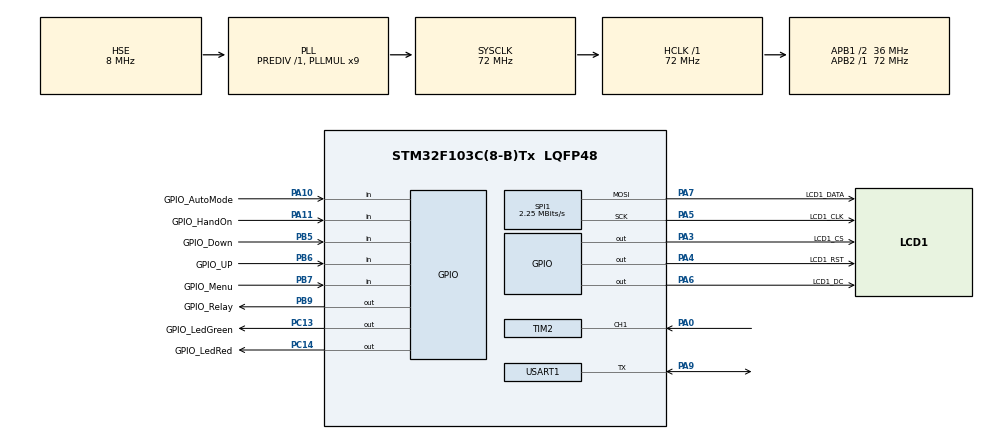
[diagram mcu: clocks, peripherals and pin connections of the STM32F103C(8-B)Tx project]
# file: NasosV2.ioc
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Dma.Request0=SPI1_TX
Dma.SPI1_TX.0.Direction=DMA_MEMORY_TO_PERIPH
Dma.SPI1_TX.0.Instance=DMA1_Channel3
Dma.SPI1_TX.0.MemDataAlignment=DMA_MDATAALIGN_BYTE
Dma.SPI1_TX.0.MemInc=DMA_MINC_ENABLE
Dma.SPI1_TX.0.Mode=DMA_NORMAL
Dma.SPI1_TX.0.PeriphDataAlignment=DMA_PDATAALIGN_BYTE
Dma.SPI1_TX.0.PeriphInc=DMA_PINC_DISABLE
Dma.SPI1_TX.0.Priority=DMA_PRIORITY_LOW
FREERTOS.Tasks01=Task01Main,0,128,MainTask,Default,NULL,Dynamic,NULL,NULL;Task02LCD,-3,256,LcdOutTask,Default,NULL,Dynamic,NULL,NULL;Task03LedDiod,-3,128,LedDiodTask,Default,NULL,Dynamic,NULL,NULL;Task04Button,-3,128,ButtonTask,Default,NULL,Dynamic,NULL,NULL;Task05Option,-3,256,OptionTask,Default,NULL,Dynamic,NULL,NULL;Task06Amper,-3,128,AmperTask,Default,NULL,Dynamic,NULL,NULL;Task07AutoMode,-3,128,AutoModeTask,Default,NULL,Dynamic,NULL,NULL
FREERTOS.configTOTAL_HEAP_SIZE=16000
Mcu.Family=STM32F1
Mcu.Name=STM32F103C(8-B)Tx
Mcu.Package=LQFP48
NVIC.DMA1_Channel3_IRQn=true\:5\:0\:false\:false\:true\:true\:false
NVIC.PriorityGroup=NVIC_PRIORITYGROUP_4
NVIC.SPI1_IRQn=true\:5\:0\:false\:false\:true\:true\:true
NVIC.TIM1_UP_IRQn=true\:0\:0\:false\:false\:true\:false\:false
NVIC.TimeBase=TIM1_UP_IRQn
NVIC.TimeBaseIP=TIM1
PA0-WKUP.Signal=S_TIM2_CH1_ETR
PA10.GPIO_Label=GPIO_AutoMode
PA10.GPIO_PuPd=GPIO_PULLDOWN
PA10.Signal=GPIO_Input
PA11.GPIO_Label=GPIO_HandOn
PA11.GPIO_PuPd=GPIO_PULLDOWN
PA11.Signal=GPIO_Input
PA13.Mode=Serial_Wire
PA13.Signal=SYS_JTMS-SWDIO
PA14.Mode=Serial_Wire
PA14.Signal=SYS_JTCK-SWCLK
PA3.GPIO_Label=LCD1_CS
PA3.GPIO_Speed=GPIO_SPEED_FREQ_HIGH
PA3.Signal=GPIO_Output
PA4.GPIO_Label=LCD1_RST
PA4.GPIO_Speed=GPIO_SPEED_FREQ_HIGH
PA4.Signal=GPIO_Output
PA5.GPIO_Label=LCD1_CLK
PA5.Mode=TX_Only_Simplex_Unidirect_Master
PA5.Signal=SPI1_SCK
PA6.GPIO_Label=LCD1_DC
PA6.GPIO_Speed=GPIO_SPEED_FREQ_HIGH
PA6.Signal=GPIO_Output
PA7.GPIO_Label=LCD1_DATA
PA7.Mode=TX_Only_Simplex_Unidirect_Master
PA7.Signal=SPI1_MOSI
PA9.Mode=Half_duplex(single_wire_mode)
PA9.Signal=USART1_TX
PB5.GPIO_Label=GPIO_Down
PB5.GPIO_PuPd=GPIO_PULLDOWN
PB5.Signal=GPIO_Input
PB6.GPIO_Label=GPIO_UP
PB6.GPIO_PuPd=GPIO_PULLDOWN
PB6.Signal=GPIO_Input
PB7.GPIO_Label=GPIO_Menu
PB7.GPIO_PuPd=GPIO_PULLDOWN
PB7.Signal=GPIO_Input
PB9.GPIO_Label=GPIO_Relay
PB9.PinState=GPIO_PIN_SET
PB9.Signal=GPIO_Output
PC13-TAMPER-RTC.GPIO_Label=GPIO_LedGreen
PC13-TAMPER-RTC.Signal=GPIO_Output
PC14-OSC32_IN.GPIO_Label=GPIO_LedRed
PC14-OSC32_IN.Signal=GPIO_Output
PD0-OSC_IN.Mode=HSE-External-Oscillator
PD0-OSC_IN.Signal=RCC_OSC_IN
PD1-OSC_OUT.Mode=HSE-External-Oscillator
PD1-OSC_OUT.Signal=RCC_OSC_OUT
ProjectManager.HeapSize=0x200
ProjectManager.StackSize=0x400
ProjectManager.TargetToolchain=SW4STM32
RCC.ADCPresc=RCC_ADCPCLK2_DIV6
RCC.AHBFreq_Value=72000000
RCC.APB1CLKDivider=RCC_HCLK_DIV2
RCC.APB1Freq_Value=36000000
RCC.APB1TimFreq_Value=72000000
RCC.APB2Freq_Value=72000000
RCC.APB2TimFreq_Value=72000000
RCC.HCLKFreq_Value=72000000
RCC.PLLMUL=RCC_PLL_MUL9
RCC.PLLSourceVirtual=RCC_PLLSOURCE_HSE
RCC.SYSCLKFreq_VALUE=72000000
RCC.SYSCLKSource=RCC_SYSCLKSOURCE_PLLCLK
RCC.USBFreq_Value=72000000
SH.S_TIM2_CH1_ETR.0=TIM2_CH1,Input_Capture1_from_TI1
SPI1.BaudRatePrescaler=SPI_BAUDRATEPRESCALER_32
SPI1.CalculateBaudRate=2.25 MBits/s
SPI1.Direction=SPI_DIRECTION_2LINES
SPI1.Mode=SPI_MODE_MASTER
SPI1.VirtualType=VM_MASTER
TIM2.Channel-Input_Capture1_from_TI1=TIM_CHANNEL_1
TIM2.Period=65000
TIM2.Prescaler=71
USART1.VirtualMode=VM_ASYNC
VP_FREERTOS_VS_ENABLE.Mode=Enabled
VP_SYS_VS_tim1.Mode=TIM1
board=NasosV2

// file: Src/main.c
/**
  ******************************************************************************
  * File Name          : main.c
  * Description        : Main program body
  ******************************************************************************
  * This notice applies to any and all portions of this file
  * that are not between comment pairs USER CODE BEGIN and
  * USER CODE END. Other portions of this file, whether
  * inserted by the user or by software development tools
  * are owned by their respective copyright owners.
  *
  * Copyright (c) 2018 STMicroelectronics International N.V.
  * All rights reserved.
  *
  * Redistribution and use in source and binary forms, with or without
  * modification, are permitted, provided that the following conditions are met:
  *
  * 1. Redistribution of source code must retain the above copyright notice,
  *    this list of conditions and the following disclaimer.
  * 2. Redistributions in binary form must reproduce the above copyright notice,
  *    this list of conditions and the following disclaimer in the documentation
  *    and/or other materials provided with the distribution.
  * 3. Neither the name of STMicroelectronics nor the names of other
  *    contributors to this software may be used to endorse or promote products
  *    derived from this software without specific written permission.
  * 4. This software, including modifications and/or derivative works of this
  *    software, must execute solely and exclusively on microcontroller or
  *    microprocessor devices manufactured by or for STMicroelectronics.
  * 5. Redistribution and use of this software other than as permitted under
  *    this license is void and will automatically terminate your rights under
  *    this license.
  *
  * THIS SOFTWARE IS PROVIDED BY STMICROELECTRONICS AND CONTRIBUTORS "AS IS"
  * AND ANY EXPRESS, IMPLIED OR STATUTORY WARRANTIES, INCLUDING, BUT NOT
  * LIMITED TO, THE IMPLIED WARRANTIES OF MERCHANTABILITY, FITNESS FOR A
  * PARTICULAR PURPOSE AND NON-INFRINGEMENT OF THIRD PARTY INTELLECTUAL PROPERTY
  * RIGHTS ARE DISCLAIMED TO THE FULLEST EXTENT PERMITTED BY LAW. IN NO EVENT
  * SHALL STMICROELECTRONICS OR CONTRIBUTORS BE LIABLE FOR ANY DIRECT, INDIRECT,
  * INCIDENTAL, SPECIAL, EXEMPLARY, OR CONSEQUENTIAL DAMAGES (INCLUDING, BUT NOT
  * LIMITED TO, PROCUREMENT OF SUBSTITUTE GOODS OR SERVICES; LOSS OF USE, DATA,
  * OR PROFITS; OR BUSINESS INTERRUPTION) HOWEVER CAUSED AND ON ANY THEORY OF
  * LIABILITY, WHETHER IN CONTRACT, STRICT LIABILITY, OR TORT (INCLUDING
  * NEGLIGENCE OR OTHERWISE) ARISING IN ANY WAY OUT OF THE USE OF THIS SOFTWARE,
  * EVEN IF ADVISED OF THE POSSIBILITY OF SUCH DAMAGE.
  *
  ******************************************************************************
  */
#include "main.h"
#include "stm32f1xx_hal.h"
#include "cmsis_os.h"
#include "dma.h"
#include "spi.h"
#include "tim.h"
#include "usart.h"
#include "gpio.h"

/* USER CODE BEGIN Includes */
#include <stdbool.h>

/* USER CODE END Includes */

/* USER CODE BEGIN PV */
/* Private variables ---------------------------------------------------------*/

/* USER CODE END PV */

void SystemClock_Config(void);
void MX_FREERTOS_Init(void);

/* USER CODE BEGIN PFP */
/* Private function prototypes -----------------------------------------------*/

/* USER CODE END PFP */

int main(void)
{

  /* MCU Configuration----------------------------------------------------------*/

  /* Reset of all peripherals, Initializes the Flash interface and the Systick. */
  HAL_Init();

  /* Configure the system clock */
  SystemClock_Config();

  /* USER CODE BEGIN SysInit */
	//FLASH->KEYR = 0x45670123;
	//FLASH->KEYR = 0xCDEF89AB;
  /* USER CODE END SysInit */

  /* Initialize all configured peripherals */
  MX_GPIO_Init();
  MX_DMA_Init();
  MX_SPI1_Init();
  MX_USART1_UART_Init();
  MX_TIM2_Init();

  /* Call init function for freertos objects (in freertos.c) */
  MX_FREERTOS_Init();

  /* Start scheduler */
  osKernelStart();

  /* We should never get here as control is now taken by the scheduler */

  /* Infinite loop */
	while (1) {

	}

}

/** System Clock Configuration
*/
void SystemClock_Config(void)
{

  RCC_OscInitTypeDef RCC_OscInitStruct;
  RCC_ClkInitTypeDef RCC_ClkInitStruct;

    /**Initializes the CPU, AHB and APB busses clocks
    */
  RCC_OscInitStruct.OscillatorType = RCC_OSCILLATORTYPE_HSE;
  RCC_OscInitStruct.HSEState = RCC_HSE_ON;
  RCC_OscInitStruct.HSEPredivValue = RCC_HSE_PREDIV_DIV1;
  RCC_OscInitStruct.HSIState = RCC_HSI_ON;
  RCC_OscInitStruct.PLL.PLLState = RCC_PLL_ON;
  RCC_OscInitStruct.PLL.PLLSource = RCC_PLLSOURCE_HSE;
  RCC_OscInitStruct.PLL.PLLMUL = RCC_PLL_MUL9;
  if (HAL_RCC_OscConfig(&RCC_OscInitStruct) != HAL_OK)
  {
    _Error_Handler(__FILE__, __LINE__);
  }

    /**Initializes the CPU, AHB and APB busses clocks
    */
  RCC_ClkInitStruct.ClockType = RCC_CLOCKTYPE_HCLK|RCC_CLOCKTYPE_SYSCLK
                              |RCC_CLOCKTYPE_PCLK1|RCC_CLOCKTYPE_PCLK2;
  RCC_ClkInitStruct.SYSCLKSource = RCC_SYSCLKSOURCE_PLLCLK;
  RCC_ClkInitStruct.AHBCLKDivider = RCC_SYSCLK_DIV1;
  RCC_ClkInitStruct.APB1CLKDivider = RCC_HCLK_DIV2;
  RCC_ClkInitStruct.APB2CLKDivider = RCC_HCLK_DIV1;

  if (HAL_RCC_ClockConfig(&RCC_ClkInitStruct, FLASH_LATENCY_2) != HAL_OK)
  {
    _Error_Handler(__FILE__, __LINE__);
  }

    /**Configure the Systick interrupt time
    */
  HAL_SYSTICK_Config(HAL_RCC_GetHCLKFreq()/1000);

    /**Configure the Systick
    */
  HAL_SYSTICK_CLKSourceConfig(SYSTICK_CLKSOURCE_HCLK);

  /* SysTick_IRQn interrupt configuration */
  HAL_NVIC_SetPriority(SysTick_IRQn, 15, 0);
}

void HAL_TIM_PeriodElapsedCallback(TIM_HandleTypeDef *htim)
{
  if (htim->Instance == TIM1) {
    HAL_IncTick();
  }
}

void _Error_Handler(char * file, int line)
{
	while (1) {
	}
}

/************************ (C) COPYRIGHT STMicroelectronics *****END OF FILE****/

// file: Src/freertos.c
/**
  ******************************************************************************
  * File Name          : freertos.c
  * Description        : Code for freertos applications
  ******************************************************************************
  * This notice applies to any and all portions of this file
  * that are not between comment pairs USER CODE BEGIN and
  * USER CODE END. Other portions of this file, whether
  * inserted by the user or by software development tools
  * are owned by their respective copyright owners.
  *
  * Copyright (c) 2018 STMicroelectronics International N.V.
  * All rights reserved.
  *
  * Redistribution and use in source and binary forms, with or without
  * modification, are permitted, provided that the following conditions are met:
  *
  * 1. Redistribution of source code must retain the above copyright notice,
  *    this list of conditions and the following disclaimer.
  * 2. Redistributions in binary form must reproduce the above copyright notice,
  *    this list of conditions and the following disclaimer in the documentation
  *    and/or other materials provided with the distribution.
  * 3. Neither the name of STMicroelectronics nor the names of other
  *    contributors to this software may be used to endorse or promote products
  *    derived from this software without specific written permission.
  * 4. This software, including modifications and/or derivative works of this
  *    software, must execute solely and exclusively on microcontroller or
  *    microprocessor devices manufactured by or for STMicroelectronics.
  * 5. Redistribution and use of this software other than as permitted under
  *    this license is void and will automatically terminate your rights under
  *    this license.
  *
  * THIS SOFTWARE IS PROVIDED BY STMICROELECTRONICS AND CONTRIBUTORS "AS IS"
  * AND ANY EXPRESS, IMPLIED OR STATUTORY WARRANTIES, INCLUDING, BUT NOT
  * LIMITED TO, THE IMPLIED WARRANTIES OF MERCHANTABILITY, FITNESS FOR A
  * PARTICULAR PURPOSE AND NON-INFRINGEMENT OF THIRD PARTY INTELLECTUAL PROPERTY
  * RIGHTS ARE DISCLAIMED TO THE FULLEST EXTENT PERMITTED BY LAW. IN NO EVENT
  * SHALL STMICROELECTRONICS OR CONTRIBUTORS BE LIABLE FOR ANY DIRECT, INDIRECT,
  * INCIDENTAL, SPECIAL, EXEMPLARY, OR CONSEQUENTIAL DAMAGES (INCLUDING, BUT NOT
  * LIMITED TO, PROCUREMENT OF SUBSTITUTE GOODS OR SERVICES; LOSS OF USE, DATA,
  * OR PROFITS; OR BUSINESS INTERRUPTION) HOWEVER CAUSED AND ON ANY THEORY OF
  * LIABILITY, WHETHER IN CONTRACT, STRICT LIABILITY, OR TORT (INCLUDING
  * NEGLIGENCE OR OTHERWISE) ARISING IN ANY WAY OUT OF THE USE OF THIS SOFTWARE,
  * EVEN IF ADVISED OF THE POSSIBILITY OF SUCH DAMAGE.
  *
  ******************************************************************************
  */

  /* Includes ------------------------------------------------------------------*/
#include "FreeRTOS.h"
#include "task.h"
#include "cmsis_os.h"

/* USER CODE BEGIN Includes */
#include "stm32f1xx_hal.h"
#include "eeprom.h"
#include "lcd5110.h"
#include "ds18b20.h"

/* USER CODE END Includes */

osThreadId Task01MainHandle;
osThreadId Task02LCDHandle;
osThreadId Task03LedDiodHandle;
osThreadId Task04ButtonHandle;
osThreadId Task05OptionHandle;
osThreadId Task06AmperHandle;
osThreadId Task07AutoModeHandle;

/* USER CODE BEGIN Variables */
LCD5110_display lcd1;

bool relaystatus = false;
bool autoMode = false;
bool handMode = false;
bool on = false, off = false;
uint32_t param[] = { 3000, 5000 };                            //на начало создания прибора
uint32_t *workTime = &param[0], *sleepTime = &param[1];
uint16_t delayLedGreed;
uint32_t secTick = 0, lastTimeOn = 0, lastTimeOff = 0, timeTemp = 0, temper;
uint32_t lastTouch, starts = 0;
uint32_t hours = 0, min = 0, sec = 0, timeToOn, uptime;

/* USER CODE END Variables */
void MainTask(void const * argument);
void LcdOutTask(void const * argument);
void LedDiodTask(void const * argument);
void ButtonTask(void const * argument);
void OptionTask(void const * argument);
void AmperTask(void const * argument);
void AutoModeTask(void const * argument);
void MX_FREERTOS_Init(void); /* (MISRA C 2004 rule 8.1) */

/* USER CODE BEGIN FunctionPrototypes */
void options();
void suspendTasks();
void resumeTasks();
void lcdTime(uint32_t);
/* USER CODE END FunctionPrototypes */

/* Hook prototypes */

/* Init FreeRTOS */

void MX_FREERTOS_Init(void) {
	/* USER CODE BEGIN Init */
	lcd1.hw_conf.spi_handle = &hspi1;
	lcd1.hw_conf.spi_cs_pin = LCD1_CS_Pin;
	lcd1.hw_conf.spi_cs_port = LCD1_CS_GPIO_Port;
	lcd1.hw_conf.rst_pin = LCD1_RST_Pin;
	lcd1.hw_conf.rst_port = LCD1_RST_GPIO_Port;
	lcd1.hw_conf.dc_pin = LCD1_DC_Pin;
	lcd1.hw_conf.dc_port = LCD1_DC_GPIO_Port;
	lcd1.def_scr = lcd5110_def_scr;
	LCD5110_init(&lcd1.hw_conf, LCD5110_NORMAL_MODE, 0x40, 2, 3);

	//загрузка параметров
	EE_Reads(0, 2, param);

	/* USER CODE END Init */

	/* Create the thread(s) */
	/* definition and creation of Task01Main */
	osThreadDef(Task01Main, MainTask, osPriorityIdle, 0, 128);
	Task01MainHandle = osThreadCreate(osThread(Task01Main), NULL);

	/* definition and creation of Task02LCD */
	osThreadDef(Task02LCD, LcdOutTask, osPriorityIdle, 0, 256);
	Task02LCDHandle = osThreadCreate(osThread(Task02LCD), NULL);

	/* definition and creation of Task03LedDiod */
	osThreadDef(Task03LedDiod, LedDiodTask, osPriorityIdle, 0, 48);
	Task03LedDiodHandle = osThreadCreate(osThread(Task03LedDiod), NULL);

	/* definition and creation of Task04Button */
	osThreadDef(Task04Button, ButtonTask, osPriorityIdle, 0, 128);
	Task04ButtonHandle = osThreadCreate(osThread(Task04Button), NULL);

	/* definition and creation of Task05Option */
	osThreadDef(Task05Option, OptionTask, osPriorityIdle, 0, 256);
	Task05OptionHandle = osThreadCreate(osThread(Task05Option), NULL);

	/* definition and creation of Task06Amper */
	osThreadDef(Task06Amper, AmperTask, osPriorityIdle, 0, 8);
	Task06AmperHandle = osThreadCreate(osThread(Task06Amper), NULL);

	/* definition and creation of Task07AutoMode */
	osThreadDef(Task07AutoMode, AutoModeTask, osPriorityIdle, 0, 128);
	Task07AutoModeHandle = osThreadCreate(osThread(Task07AutoMode), NULL);

	/* USER CODE BEGIN RTOS_THREADS */
	/* add threads, ... */
	Ds18b20_Init(osPriorityNormal);

	/* USER CODE END RTOS_THREADS */

}

/* MainTask function */
void MainTask(void const * argument)
{

	/* USER CODE BEGIN MainTask */
	/* Infinite loop */
	for (;;)
	{
		if (HAL_GPIO_ReadPin(GPIOA, GPIO_PIN_10))  	//если прижата кнопка auto
		{
			delayLedGreed = 480;              //изменил время мерцания зеленого светодиода
			autoMode = true;
		}
		else
		{
			delayLedGreed = 1480;
			autoMode = false;
		}

		if (!autoMode && !handMode && relaystatus && off) 	// авторежим и ручной режим выключены, а реле осталось включенным
		{
			relaystatus = false;    				//оффни его!
			off = false;
			lastTimeOff = HAL_GetTick();
		}

		if (relaystatus && on)
		{

			HAL_GPIO_WritePin(GPIOB, GPIO_PIN_9, GPIO_PIN_RESET);		 //включи реле, если флаг задан
			HAL_GPIO_WritePin(GPIOC, GPIO_PIN_14, GPIO_PIN_SET);		 //и светодиод
			lastTimeOn = HAL_GetTick();
			on = false;
			 starts++;
		}

		else if (off)
		{
			HAL_GPIO_WritePin(GPIOB, GPIO_PIN_9, GPIO_PIN_SET);		  		//иначе, выключи реле
			HAL_GPIO_WritePin(GPIOC, GPIO_PIN_14, GPIO_PIN_RESET);			//и светодиод
			lastTimeOff = HAL_GetTick();
			off = false;
		}

		//  LCD5110_refresh(&lcd1);
		osDelay(100);
	}
	/* USER CODE END MainTask */
}

/* LcdOutTask function */
void LcdOutTask(void const * argument)
{
	/* USER CODE BEGIN LcdOutTask */
	/* Infinite loop */
	for (;;)
	{
		LCD5110_clear_scr(&lcd1);

		LCD5110_set_cursor(0, 0, &lcd1);
		LCD5110_printf(&lcd1, BLACK, "%s", "Вкл ");

		lcdTime(HAL_GetTick());         //uptime

		LCD5110_set_cursor(0, 10, &lcd1);
		LCD5110_printf(&lcd1, BLACK, "%s", "Пусков ");
		LCD5110_printf(&lcd1, BLACK, "%i", starts);

		LCD5110_set_cursor(0, 20, &lcd1);
		LCD5110_printf(&lcd1, BLACK, "%s", "Спать ");
		lcdTime(*sleepTime + lastTimeOff - HAL_GetTick());

		LCD5110_set_cursor(0, 30, &lcd1);

		LCD5110_set_cursor(0, 40, &lcd1);
		LCD5110_printf(&lcd1, BLACK, "%s", "Temper~");
		LCD5110_set_cursor(60, 40, &lcd1);
		LCD5110_printf(&lcd1, BLACK, "%2.1f", ds18b20[0].Temperature);

		LCD5110_refresh(&lcd1);
		osDelay(333);
	}
	/* USER CODE END LcdOutTask */
}

/* LedDiodTask function */
void LedDiodTask(void const * argument)
{
	/* USER CODE BEGIN LedDiodTask */
	/* Infinite loop */
	for (;;)
	{
		//HAL_GPIO_TogglePin(GPIOC, GPIO_PIN_13);
		HAL_GPIO_WritePin(GPIOC, GPIO_PIN_13, GPIO_PIN_SET);
		osDelay(20);
		HAL_GPIO_WritePin(GPIOC, GPIO_PIN_13, GPIO_PIN_RESET);
		osDelay(delayLedGreed);

		osDelay(20);
	}
	/* USER CODE END LedDiodTask */
}

/* ButtonTask function */
void ButtonTask(void const * argument)
{
	/* USER CODE BEGIN ButtonTask */
	/* Infinite loop */
	for (;;)
	{
		if (HAL_GPIO_ReadPin(GPIOA, GPIO_PIN_11))     //вручную вкл реле
		{
			relaystatus = true;
			on = true;
			handMode = true;
			vTaskSuspend(Task07AutoModeHandle);

			do
			{
				osDelay(50);								// а пока клавиша прижата, сделай что нить другое, полезное

			} while (HAL_GPIO_ReadPin(GPIOA, GPIO_PIN_11));
			relaystatus = false;
			// HAL_GPIO_WritePin(GPIOB, GPIO_PIN_9, GPIO_PIN_SET);
			handMode = false;
			off = true;
			vTaskResume(Task07AutoModeHandle);
		}

		osDelay(30);
	}
	/* USER CODE END ButtonTask */
}

/* OptionTask function */
void OptionTask(void const * argument)
{
	/* USER CODE BEGIN OptionTask */
	/* Infinite loop */
	for (;;)
	{
		if (HAL_GPIO_ReadPin(GPIOB, GPIO_PIN_7))
		{
			suspendTasks();
			lastTouch = HAL_GetTick();
			options();

			//туточки запись во флеш
			EE_Writes(0, 2, param);

			HAL_Delay(200);
			resumeTasks();
		}
		osDelay(30);
	}
	/* USER CODE END OptionTask */
}

/* AmperTask function */
void AmperTask(void const * argument)
{
	/* USER CODE BEGIN AmperTask */
	/* Infinite loop */
	for (;;)
	{

		osDelay(1000);
		vTaskDelete(Task06AmperHandle);
		osDelay(1);
	}
	/* USER CODE END AmperTask */
}

/* AutoModeTask function */
void AutoModeTask(void const * argument)
{
	/* USER CODE BEGIN AutoModeTask */
	/* Infinite loop */
	for (;;)
	{
		if (autoMode && !handMode)
		{
			timeTemp = HAL_GetTick() - lastTimeOff;

			if ((timeTemp > *sleepTime) /*&& (ds18b20[0].Temperature > (-2))*/)
			{
				relaystatus = true;
				on = true;
				osDelay(*workTime);

				relaystatus = false;
				off = true;
				osDelay(*sleepTime);
			}
		}

		osDelay(50);
	}
	/* USER CODE END AutoModeTask */
}

/* USER CODE BEGIN Application */
void suspendTasks()
{
	vTaskSuspend(Task01MainHandle);
	vTaskSuspend(Task02LCDHandle);
	vTaskSuspend(Task03LedDiodHandle);
	vTaskSuspend(Task04ButtonHandle);
	//vTaskSuspend(Task06AmperHandle);
	vTaskSuspend(Task07AutoModeHandle);
	vTaskSuspend(Ds18b20Handle);
}

void resumeTasks()
{
	vTaskResume(Task01MainHandle);
	vTaskResume(Task02LCDHandle);
	vTaskResume(Task03LedDiodHandle);
	vTaskResume(Task04ButtonHandle);
	//vTaskResume(Task06AmperHandle);
	vTaskResume(Task07AutoModeHandle);
	vTaskResume(Ds18b20Handle);
}
void options()
{
	do
	{
		while (HAL_GPIO_ReadPin(GPIOB, GPIO_PIN_6))               //кнопка добавления
		{
			LCD5110_clear_scr(&lcd1);
			LCD5110_set_cursor(0, 0, &lcd1);
			LCD5110_printf(&lcd1, BLACK, "%s", "Работа: ");

			*workTime += 1000;

			//LCD5110_set_cursor(25, 27, &lcd1);
			LCD5110_printf(&lcd1, BLACK, "%i", *workTime / 1000);
			LCD5110_printf(&lcd1, BLACK, "%s", "сек");

			LCD5110_refresh(&lcd1);
			HAL_Delay(100);
			lastTouch = HAL_GetTick();
		}

		while (HAL_GPIO_ReadPin(GPIOB, GPIO_PIN_5))			////кнопка убавления
		{
			LCD5110_clear_scr(&lcd1);
			LCD5110_set_cursor(0, 0, &lcd1);
			LCD5110_printf(&lcd1, BLACK, "%s", "Работа: ");

			*workTime -= 1000;
			if (*workTime < 2000)									//включение короче 2 секунд не нужно
				*workTime = 2000;
			//LCD5110_set_cursor(25, 27, &lcd1);
			LCD5110_printf(&lcd1, BLACK, "%i", *workTime / 1000);
			LCD5110_printf(&lcd1, BLACK, "%s", "сек");
			LCD5110_refresh(&lcd1);
			HAL_Delay(100);
			lastTouch = HAL_GetTick();
		}

		LCD5110_clear_scr(&lcd1);
		LCD5110_set_cursor(0, 0, &lcd1);
		LCD5110_printf(&lcd1, BLACK, "%s", "Работа: ");
		LCD5110_printf(&lcd1, BLACK, "%i", (*workTime / 1000));
		LCD5110_printf(&lcd1, BLACK, "%s", "сек");
		LCD5110_refresh(&lcd1);

		HAL_Delay(150);

		//---------------------------сон--------------------------------------------------
		while (HAL_GPIO_ReadPin(GPIOB, GPIO_PIN_7))
		{
			lastTouch = HAL_GetTick();
			do
			{
				LCD5110_clear_scr(&lcd1);
				LCD5110_set_cursor(0, 0, &lcd1);
				LCD5110_printf(&lcd1, BLACK, "%s", "Спать: ");
				LCD5110_printf(&lcd1, BLACK, "%i", (*sleepTime / 60000));
				LCD5110_printf(&lcd1, BLACK, "%s", "мин");
				LCD5110_refresh(&lcd1);
				HAL_Delay(100);

				while (HAL_GPIO_ReadPin(GPIOB, GPIO_PIN_6))               //кнопка добавления
				{
					LCD5110_clear_scr(&lcd1);
					LCD5110_set_cursor(0, 0, &lcd1);
					LCD5110_printf(&lcd1, BLACK, "%s", "Спать: ");

					*sleepTime += 60000;
					LCD5110_printf(&lcd1, BLACK, "%i", *sleepTime / 60000);
					LCD5110_printf(&lcd1, BLACK, "%s", "мин");

					LCD5110_refresh(&lcd1);
					HAL_Delay(100);
					lastTouch = HAL_GetTick();
				}

				while (HAL_GPIO_ReadPin(GPIOB, GPIO_PIN_5))			////кнопка убавления
				{
					LCD5110_clear_scr(&lcd1);
					LCD5110_set_cursor(0, 0, &lcd1);
					LCD5110_printf(&lcd1, BLACK, "%s", "Спать: ");

					*sleepTime -= 60000;
					if (*sleepTime < 60000)									//выключение короче 3 секунд не нужно
						*sleepTime = 60000;
					LCD5110_printf(&lcd1, BLACK, "%i", *sleepTime / 60000);
					LCD5110_printf(&lcd1, BLACK, "%s", "мин");

					LCD5110_refresh(&lcd1);
					HAL_Delay(100);
					lastTouch = HAL_GetTick();
				}

				if (HAL_GPIO_ReadPin(GPIOB, GPIO_PIN_7))
				{
					break;
				}

			} while ((lastTouch + 5000) > HAL_GetTick());

			break;
		}
		//---------------------------------------------------------------

	} while ((lastTouch + 5000) > HAL_GetTick());
}

void lcdTime(uint32_t a)
{
	uint32_t _hours = 0, _min = 0, _sec = 0;
	do
	{
		if (a >= 3600000)
		{
			_hours++;
			a -= 3600000;
			continue;
		}
		else if (a >= 60000)
		{
			_min++;
			a -= 60000;
			continue;
		}
		else if (a >= 1000)
		{
			_sec++;
			a -= 1000;
			continue;
		}

	} while (a >= 1000);

	LCD5110_printf(&lcd1, BLACK, "%i", _hours);
	LCD5110_printf(&lcd1, BLACK, "%c", 149);     // точка посередине в ASCII
	LCD5110_printf(&lcd1, BLACK, "%i", _min);
	LCD5110_printf(&lcd1, BLACK, "%c", 149);
	LCD5110_printf(&lcd1, BLACK, "%i", _sec);
	_hours = _min = _sec = 0;

}

/* USER CODE END Application */

/************************ (C) COPYRIGHT STMicroelectronics *****END OF FILE****/
